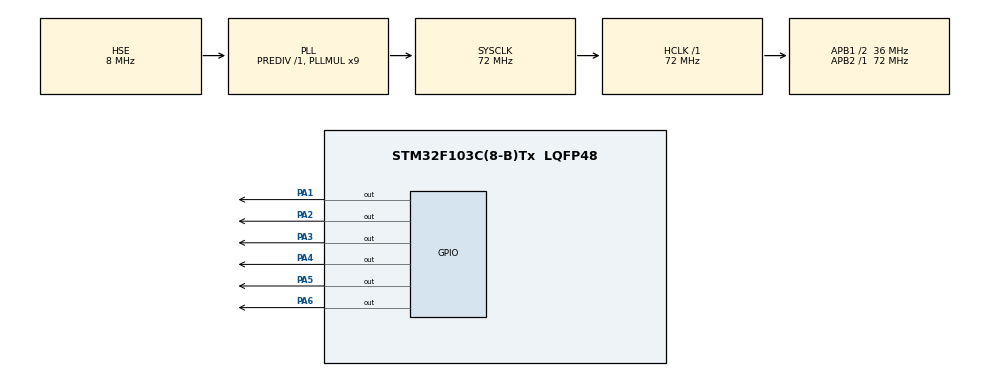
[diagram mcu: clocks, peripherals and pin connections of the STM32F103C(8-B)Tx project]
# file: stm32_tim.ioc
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Mcu.Family=STM32F1
Mcu.Name=STM32F103C(8-B)Tx
Mcu.Package=LQFP48
NVIC.PriorityGroup=NVIC_PRIORITYGROUP_4
NVIC.TIM2_IRQn=true\:0\:0\:false\:false\:true\:true\:true\:true
NVIC.TIM3_IRQn=true\:0\:0\:false\:false\:true\:true\:true\:true
PA1.GPIO_ModeDefaultOutputPP=GPIO_MODE_OUTPUT_OD
PA1.GPIO_PuPd=GPIO_NOPULL
PA1.GPIO_Speed=GPIO_SPEED_FREQ_HIGH
PA1.Signal=GPIO_Output
PA2.GPIO_ModeDefaultOutputPP=GPIO_MODE_OUTPUT_OD
PA2.GPIO_PuPd=GPIO_NOPULL
PA2.GPIO_Speed=GPIO_SPEED_FREQ_HIGH
PA2.Signal=GPIO_Output
PA3.GPIO_ModeDefaultOutputPP=GPIO_MODE_OUTPUT_OD
PA3.GPIO_PuPd=GPIO_NOPULL
PA3.GPIO_Speed=GPIO_SPEED_FREQ_HIGH
PA3.Signal=GPIO_Output
PA4.GPIO_ModeDefaultOutputPP=GPIO_MODE_OUTPUT_OD
PA4.GPIO_PuPd=GPIO_NOPULL
PA4.GPIO_Speed=GPIO_SPEED_FREQ_HIGH
PA4.Signal=GPIO_Output
PA5.GPIO_ModeDefaultOutputPP=GPIO_MODE_OUTPUT_OD
PA5.GPIO_PuPd=GPIO_NOPULL
PA5.GPIO_Speed=GPIO_SPEED_FREQ_HIGH
PA5.Signal=GPIO_Output
PA6.GPIO_ModeDefaultOutputPP=GPIO_MODE_OUTPUT_OD
PA6.GPIO_PuPd=GPIO_NOPULL
PA6.GPIO_Speed=GPIO_SPEED_FREQ_HIGH
PA6.Signal=GPIO_Output
PD0-OSC_IN.Mode=HSE-External-Oscillator
PD0-OSC_IN.Signal=RCC_OSC_IN
PD1-OSC_OUT.Mode=HSE-External-Oscillator
PD1-OSC_OUT.Signal=RCC_OSC_OUT
ProjectManager.HeapSize=0x200
ProjectManager.StackSize=0x400
ProjectManager.TargetToolchain=STM32CubeIDE
RCC.AHBFreq_Value=72000000
RCC.APB1CLKDivider=RCC_HCLK_DIV2
RCC.APB1Freq_Value=36000000
RCC.APB1TimFreq_Value=72000000
RCC.APB2Freq_Value=72000000
RCC.APB2TimFreq_Value=72000000
RCC.HCLKFreq_Value=72000000
RCC.PLLMUL=RCC_PLL_MUL9
RCC.PLLSourceVirtual=RCC_PLLSOURCE_HSE
RCC.SYSCLKFreq_VALUE=72000000
RCC.SYSCLKSource=RCC_SYSCLKSOURCE_PLLCLK
RCC.TimSys_Div=SYSTICK_CLKSOURCE_HCLK_DIV8
RCC.USBFreq_Value=72000000
TIM2.AutoReloadPreload=TIM_AUTORELOAD_PRELOAD_ENABLE
TIM2.Period=816-1
TIM2.Prescaler=1-0
TIM3.AutoReloadPreload=TIM_AUTORELOAD_PRELOAD_ENABLE
TIM3.Period=1440-1
TIM3.Prescaler=1000-1
VP_SYS_VS_ND.Mode=No_Debug
VP_TIM2_VS_ClockSourceINT.Mode=Internal
VP_TIM3_VS_ClockSourceINT.Mode=Internal
board=custom

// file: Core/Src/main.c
/* USER CODE BEGIN Header */
/**
  ******************************************************************************
  * @file           : main.c
  * @brief          : Main program body
  ******************************************************************************
  * @attention
  *
  * Copyright (c) 2024 STMicroelectronics.
  * All rights reserved.
  *
  * This software is licensed under terms that can be found in the LICENSE file
  * in the root directory of this software component.
  * If no LICENSE file comes with this software, it is provided AS-IS.
  *
  ******************************************************************************
  */
/* USER CODE END Header */
#include "main.h"
#include "tim.h"
#include "gpio.h"

/* USER CODE BEGIN Includes */
#include "player/player.h"
#include <stdbool.h>
/* USER CODE END Includes */

/* USER CODE BEGIN PV */
bool g_is_tick_update = false;
bool g_is_sr_update = false;
// GPIO_PinState g_gpio_buffer[NUM_AUDIO_CHANNEL] = { GPIO_PIN_SET,GPIO_PIN_SET,GPIO_PIN_SET,GPIO_PIN_SET };
uint32_t g_gpio_buffer = 0u;
/* USER CODE END PV */

void SystemClock_Config(void);

/* USER CODE BEGIN 0 */
void HAL_TIM_PeriodElapsedCallback(TIM_HandleTypeDef* htim) {
    if (htim == &htim2) {
        g_is_sr_update = true;
        HAL_GPIO_TogglePin(GPIOA, GPIO_PIN_5);
    }
    else if (htim == &htim3) {
        g_is_tick_update = true;
        HAL_GPIO_TogglePin(GPIOA, GPIO_PIN_6);
    }
}

static void Keil_Play(void) {
    Player_t keil_player;
    Player_Init(&keil_player);

    while (true) {
        if (g_is_tick_update) {
            g_is_tick_update = false;
            Player_NextLine(&keil_player);
        }

        if (g_is_sr_update) {
            g_is_sr_update = false;

            // update gpio
            // HAL_GPIO_WritePin(GPIOA, GPIO_PIN_1, g_gpio_buffer[0]);
            // HAL_GPIO_WritePin(GPIOA, GPIO_PIN_2, g_gpio_buffer[1]);
            // HAL_GPIO_WritePin(GPIOA, GPIO_PIN_3, g_gpio_buffer[2]);
            // HAL_GPIO_WritePin(GPIOA, GPIO_PIN_4, g_gpio_buffer[3]);
            GPIOA->BSRR = g_gpio_buffer;

            Player_SampleTick(&keil_player);
            // g_gpio_buffer[0] = Player_ReadOutput(&keil_player, 0) == 0 ? GPIO_PIN_SET : GPIO_PIN_RESET;
            // g_gpio_buffer[1] = Player_ReadOutput(&keil_player, 1) == 0 ? GPIO_PIN_SET : GPIO_PIN_RESET;
            // g_gpio_buffer[2] = Player_ReadOutput(&keil_player, 2) == 0 ? GPIO_PIN_SET : GPIO_PIN_RESET;
            // g_gpio_buffer[3] = Player_ReadOutput(&keil_player, 3) == 0 ? GPIO_PIN_SET : GPIO_PIN_RESET;
            g_gpio_buffer = 0;
            g_gpio_buffer |= (Player_ReadOutput(&keil_player, 0) == 0 ? GPIO_PIN_1 << 16 : GPIO_PIN_1);
            g_gpio_buffer |= (Player_ReadOutput(&keil_player, 1) == 0 ? GPIO_PIN_2 << 16 : GPIO_PIN_2);
            g_gpio_buffer |= (Player_ReadOutput(&keil_player, 2) == 0 ? GPIO_PIN_3 << 16 : GPIO_PIN_3);
            g_gpio_buffer |= (Player_ReadOutput(&keil_player, 3) == 0 ? GPIO_PIN_4 << 16 : GPIO_PIN_4);
        }
    }
}
/* USER CODE END 0 */

int main(void)
{

  /* MCU Configuration--------------------------------------------------------*/

  /* Reset of all peripherals, Initializes the Flash interface and the Systick. */
  HAL_Init();

  /* Configure the system clock */
  SystemClock_Config();

  /* Initialize all configured peripherals */
  MX_GPIO_Init();
  MX_TIM2_Init();
  MX_TIM3_Init();
  /* USER CODE BEGIN 2 */
  HAL_TIM_Base_Start_IT(&htim2);
  HAL_TIM_Base_Start_IT(&htim3);
  /* USER CODE END 2 */

  /* Infinite loop */
  /* USER CODE BEGIN WHILE */
  while (1)
  {
      Keil_Play();
    /* USER CODE END WHILE */

  }
}

void SystemClock_Config(void)
{
  RCC_OscInitTypeDef RCC_OscInitStruct = {0};
  RCC_ClkInitTypeDef RCC_ClkInitStruct = {0};

  /** Initializes the RCC Oscillators according to the specified parameters
  * in the RCC_OscInitTypeDef structure.
  */
  RCC_OscInitStruct.OscillatorType = RCC_OSCILLATORTYPE_HSE;
  RCC_OscInitStruct.HSEState = RCC_HSE_ON;
  RCC_OscInitStruct.HSEPredivValue = RCC_HSE_PREDIV_DIV1;
  RCC_OscInitStruct.HSIState = RCC_HSI_ON;
  RCC_OscInitStruct.PLL.PLLState = RCC_PLL_ON;
  RCC_OscInitStruct.PLL.PLLSource = RCC_PLLSOURCE_HSE;
  RCC_OscInitStruct.PLL.PLLMUL = RCC_PLL_MUL9;
  if (HAL_RCC_OscConfig(&RCC_OscInitStruct) != HAL_OK)
  {
    Error_Handler();
  }

  /** Initializes the CPU, AHB and APB buses clocks
  */
  RCC_ClkInitStruct.ClockType = RCC_CLOCKTYPE_HCLK|RCC_CLOCKTYPE_SYSCLK
                              |RCC_CLOCKTYPE_PCLK1|RCC_CLOCKTYPE_PCLK2;
  RCC_ClkInitStruct.SYSCLKSource = RCC_SYSCLKSOURCE_PLLCLK;
  RCC_ClkInitStruct.AHBCLKDivider = RCC_SYSCLK_DIV1;
  RCC_ClkInitStruct.APB1CLKDivider = RCC_HCLK_DIV2;
  RCC_ClkInitStruct.APB2CLKDivider = RCC_HCLK_DIV1;

  if (HAL_RCC_ClockConfig(&RCC_ClkInitStruct, FLASH_LATENCY_2) != HAL_OK)
  {
    Error_Handler();
  }
}

void Error_Handler(void)
{
  __disable_irq();
  while (1)
  {
  }
}
